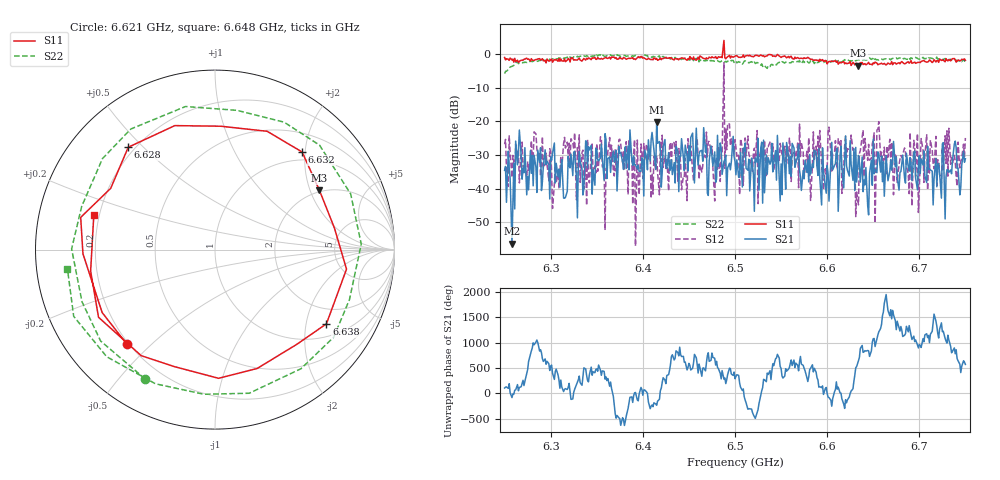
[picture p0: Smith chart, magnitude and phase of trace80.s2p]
# Hz S RI R 50
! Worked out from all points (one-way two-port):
!   401 points, 6.25 GHz to 6.75 GHz, reference 50 ohm
!   highest |S21| = -20.30 dB at 6.415 GHz (marker M1); lowest = -56.3 dB at 6.258 GHz (marker M2)
!   lowest |S11| = -3.5 dB at 6.634 GHz (marker M3), VSWR 5.04, Z = 97.6 + j116 ohm
!   |S11| at or under -10 dB: nowhere
!   |S22| runs from -5.8 to -0.2 dB; largest |S21 - S12| = 0.76
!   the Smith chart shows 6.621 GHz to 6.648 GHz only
!   S11 on the Smith chart (normalised r, x): 6.621 GHz: 0.19, -0.42; 6.628 GHz: 0.17, +0.45; 6.632 GHz: 0.84, +1.94; 6.638 GHz: 1.41, -2.63; 6.648 GHz: 0.18, +0.13
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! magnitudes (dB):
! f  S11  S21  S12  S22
! 6.25 GHz  -1.1  -34.5  -26.8  -5.8
! 6.258 GHz  -1.8  -56.3  -36.7  -3.7
! 6.265 GHz  -2.5  -28.7  -28.2  -2.9
! 6.334 GHz  -2.1  -34.1  -29.2  -0.7
! 6.415 GHz  -1.3  -20.3  -30.2  -1.2
! 6.418 GHz  -1.6  -26.0  -41.8  -0.6
! 6.434 GHz  -1.8  -32.3  -26.3  -1.5
! 6.445 GHz  -1.3  -34.6  -36.3  -1.3
! 6.471 GHz  -1.4  -42.0  -26.0  -2.3
! 6.479 GHz  -0.8  -38.1  -32.0  -2.2
! 6.49 GHz  -1.4  -30.0  -22.1  -2.2
! 6.5 GHz  -0.7  -31.9  -25.4  -2.2
! 6.584 GHz  -1.6  -32.6  -33.1  -2.5
! 6.621 GHz  -2.9  -33.1  -30.8  -1.7
! 6.628 GHz  -2.5  -37.5  -28.6  -1.9
! 6.632 GHz  -2.7  -38.0  -41.0  -1.9
! 6.634 GHz  -3.5  -30.1  -44.8  -1.7
! 6.638 GHz  -2.5  -30.6  -24.6  -1.9
! 6.648 GHz  -3.1  -31.5  -31.0  -1.6
! 6.668 GHz  -3.0  -34.7  -25.3  -1.5
! 6.721 GHz  -2.5  -32.5  -31.7  -1.5
! 6.75 GHz  -1.9  -31.1  -24.9  -2.0
